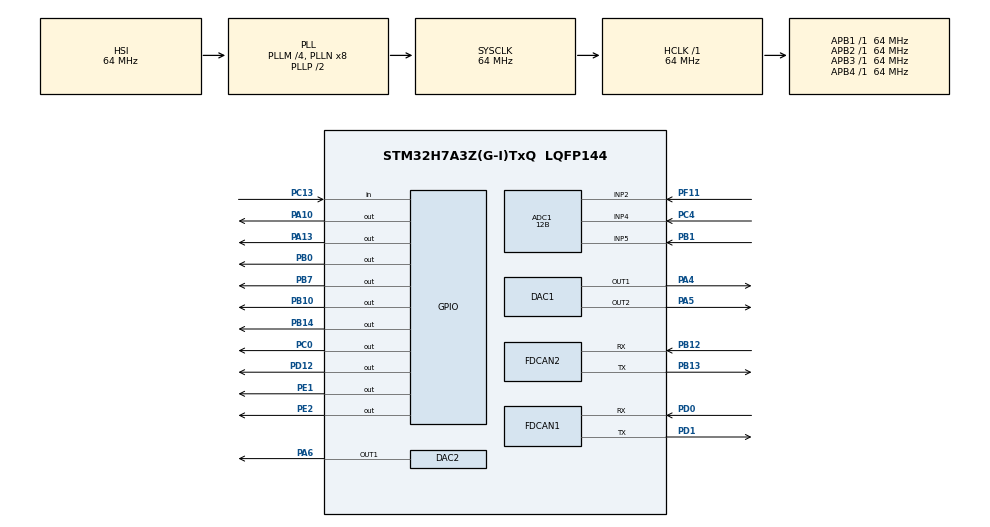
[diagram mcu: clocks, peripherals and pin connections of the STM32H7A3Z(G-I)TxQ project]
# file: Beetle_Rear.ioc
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ADC1.Channel-0\#ChannelRegularConversion=ADC_CHANNEL_5
ADC1.Channel-3\#ChannelRegularConversion=ADC_CHANNEL_2
ADC1.Channel-4\#ChannelRegularConversion=ADC_CHANNEL_4
ADC1.ClockPrescaler=ADC_CLOCK_ASYNC_DIV64
ADC1.ContinuousConvMode=ENABLE
ADC1.ConversionDataManagement=ADC_CONVERSIONDATA_DMA_CIRCULAR
ADC1.DiscontinuousConvMode=DISABLE
ADC1.EOCSelection=ADC_EOC_SINGLE_CONV
ADC1.NbrOfConversion=3
ADC1.NbrOfConversionFlag=1
ADC1.OffsetNumber-0\#ChannelRegularConversion=ADC_OFFSET_NONE
ADC1.OffsetNumber-3\#ChannelRegularConversion=ADC_OFFSET_NONE
ADC1.OffsetNumber-4\#ChannelRegularConversion=ADC_OFFSET_NONE
ADC1.OffsetSignedSaturation-0\#ChannelRegularConversion=DISABLE
ADC1.OversamplingMode=ENABLE
ADC1.Rank-0\#ChannelRegularConversion=1
ADC1.Rank-3\#ChannelRegularConversion=2
ADC1.Rank-4\#ChannelRegularConversion=3
ADC1.Ratio=64
ADC1.Resolution=ADC_RESOLUTION_12B
ADC1.RightBitShift=ADC_RIGHTBITSHIFT_6
ADC1.SamplingTime-0\#ChannelRegularConversion=ADC_SAMPLETIME_32CYCLES_5
ADC1.SamplingTime-3\#ChannelRegularConversion=ADC_SAMPLETIME_32CYCLES_5
ADC1.SamplingTime-4\#ChannelRegularConversion=ADC_SAMPLETIME_32CYCLES_5
ADC1.master=1
CORTEX_M7.default_mode_Activation=1
DAC1.DAC_Channel-DAC_OUT1=DAC_CHANNEL_1
DAC1.DAC_Channel-DAC_OUT2=DAC_CHANNEL_2
DAC2.DAC_Channel-DAC_OUT1=DAC_CHANNEL_1
Dma.ADC1.0.Direction=DMA_PERIPH_TO_MEMORY
Dma.ADC1.0.EventEnable=DISABLE
Dma.ADC1.0.FIFOMode=DMA_FIFOMODE_DISABLE
Dma.ADC1.0.Instance=DMA1_Stream0
Dma.ADC1.0.MemDataAlignment=DMA_MDATAALIGN_HALFWORD
Dma.ADC1.0.MemInc=DMA_MINC_ENABLE
Dma.ADC1.0.Mode=DMA_CIRCULAR
Dma.ADC1.0.PeriphDataAlignment=DMA_PDATAALIGN_HALFWORD
Dma.ADC1.0.PeriphInc=DMA_PINC_DISABLE
Dma.ADC1.0.Polarity=HAL_DMAMUX_REQ_GEN_RISING
Dma.ADC1.0.Priority=DMA_PRIORITY_LOW
Dma.ADC1.0.RequestNumber=1
Dma.ADC1.0.SignalID=NONE
Dma.ADC1.0.SyncEnable=DISABLE
Dma.ADC1.0.SyncPolarity=HAL_DMAMUX_SYNC_NO_EVENT
Dma.ADC1.0.SyncRequestNumber=1
Dma.ADC1.0.SyncSignalID=NONE
Dma.Request0=ADC1
FDCAN1.CalculateBaudRateNominal=500000
FDCAN1.CalculateTimeBitNominal=2000
FDCAN1.CalculateTimeQuantumNominal=62.5
FDCAN1.DataSyncJumpWidth=14
FDCAN1.DataTimeSeg1=17
FDCAN1.DataTimeSeg2=14
FDCAN1.NominalPrescaler=1
FDCAN1.NominalSyncJumpWidth=4
FDCAN1.NominalTimeSeg1=27
FDCAN1.NominalTimeSeg2=4
FDCAN1.RxFifo0ElmtsNbr=1
FDCAN1.StdFiltersNbr=1
FDCAN1.TxFifoQueueElmtsNbr=1
FDCAN2.CalculateBaudRateNominal=500000
FDCAN2.CalculateTimeBitNominal=2000
FDCAN2.CalculateTimeQuantumNominal=62.5
FDCAN2.DataSyncJumpWidth=14
FDCAN2.DataTimeSeg1=17
FDCAN2.DataTimeSeg2=14
FDCAN2.NominalPrescaler=1
FDCAN2.NominalSyncJumpWidth=4
FDCAN2.NominalTimeSeg1=27
FDCAN2.NominalTimeSeg2=4
FDCAN2.RxFifo0ElmtsNbr=1
FDCAN2.StdFiltersNbr=1
FDCAN2.TxFifoQueueElmtsNbr=1
Mcu.Family=STM32H7
Mcu.Name=STM32H7A3Z(G-I)TxQ
Mcu.Package=LQFP144
NUCLEO-H7A3ZI-Q.BUTTON=1
NUCLEO-H7A3ZI-Q.Bsp_Common_DEMO=true
NUCLEO-H7A3ZI-Q.LD1=true
NUCLEO-H7A3ZI-Q.LD2=true
NUCLEO-H7A3ZI-Q.LD3=true
NUCLEO-H7A3ZI-Q.VCP=true
NVIC.DMA1_Stream0_IRQn=true\:0\:0\:false\:false\:true\:false\:true\:true
NVIC.EXTI15_10_IRQn=true\:0\:0\:false\:false\:true\:false\:true\:true
NVIC.FDCAN1_IT0_IRQn=true\:0\:0\:false\:false\:true\:true\:true\:true
NVIC.FDCAN2_IT0_IRQn=true\:1\:0\:true\:false\:true\:true\:true\:true
NVIC.PriorityGroup=NVIC_PRIORITYGROUP_4
PA10.Signal=GPIO_Output
PA13.Signal=GPIO_Output
PA4.Signal=COMP_DAC11_group
PA5.Signal=COMP_DAC12_group
PA6.Signal=COMP_DAC21_group
PB0.Signal=GPIO_Output
PB1.Signal=ADCx_INP5
PB10.Signal=GPIO_Output
PB12.GPIO_PuPd=GPIO_PULLUP
PB12.GPIO_Speed=GPIO_SPEED_FREQ_VERY_HIGH
PB12.Mode=FDCAN_Activate
PB12.Signal=FDCAN2_RX
PB13.GPIO_Speed=GPIO_SPEED_FREQ_VERY_HIGH
PB13.Mode=FDCAN_Activate
PB13.Signal=FDCAN2_TX
PB14.Signal=GPIO_Output
PB7.Signal=GPIO_Output
PC0.Signal=GPIO_Output
PC13.Signal=GPIO_Input
PC14-OSC32_IN.GPIO_Label=OSC32_IN
PC14-OSC32_IN.Signal=RCC_OSC32_IN
PC15-OSC32_OUT.GPIO_Label=OSC32_OUT
PC15-OSC32_OUT.Signal=RCC_OSC32_OUT
PC4.Signal=ADCx_INP4
PD0.GPIO_PuPd=GPIO_PULLUP
PD0.GPIO_Speed=GPIO_SPEED_FREQ_VERY_HIGH
PD0.Mode=FDCAN_Activate
PD0.Signal=FDCAN1_RX
PD1.GPIO_Speed=GPIO_SPEED_FREQ_VERY_HIGH
PD1.Mode=FDCAN_Activate
PD1.Signal=FDCAN1_TX
PD12.Signal=GPIO_Output
PD8.Signal=USART3_TX
PD9.Signal=USART3_RX
PE1.Signal=GPIO_Output
PE2.Signal=GPIO_Output
PF11.Mode=IN2-Single-Ended
PF11.Signal=ADC1_INP2
PH0-OSC_IN.GPIO_Label=PH0-MCU
PH0-OSC_IN.Signal=RCC_OSC_IN
PH1-OSC_OUT.GPIO_Label=PH1-MCU
PH1-OSC_OUT.Signal=RCC_OSC_OUT
ProjectManager.HeapSize=0x200
ProjectManager.StackSize=0x400
ProjectManager.TargetToolchain=STM32CubeIDE
RCC.ADCFreq_Value=42666666.666666664
RCC.APB1Freq_Value=64000000
RCC.APB2Freq_Value=64000000
RCC.APB3Freq_Value=64000000
RCC.APB4Freq_Value=64000000
RCC.CortexFreq_Value=64000000
RCC.DIVM1=4
RCC.DIVM2=4
RCC.DIVM3=1
RCC.DIVN1=8
RCC.DIVN2=8
RCC.DIVN3=24
RCC.DIVP2=3
RCC.DIVQ1=8
RCC.HCLKFreq_Value=64000000
RCC.HSE_VALUE=8000000
RCC.PLL2FRACN=0
RCC.PLLFRACN=0
RCC.PWR_Regulator_Voltage_Scale=PWR_REGULATOR_VOLTAGE_SCALE0
RCC.SYSCLKFreq_VALUE=64000000
RCC.SYSCLKSource=RCC_SYSCLKSOURCE_PLLCLK
RCC.SupplySource=PWR_DIRECT_SMPS_SUPPLY
RCC.USBCLockSelection=RCC_USBCLKSOURCE_HSI48
RCC.USBFreq_Value=48000000
SH.ADCx_INP4.0=ADC1_INP4,IN4-Single-Ended
SH.ADCx_INP5.0=ADC1_INP5,IN5-Single-Ended
SH.COMP_DAC11_group.0=DAC1_OUT1,DAC_OUT1
SH.COMP_DAC12_group.0=DAC1_OUT2,DAC_OUT2
SH.COMP_DAC21_group.0=DAC2_OUT1,DAC_OUT1
VP_IWDG1_VS_IWDG.Mode=IWDG_Activate
VP_MEMORYMAP_VS_MEMORYMAP.Mode=CurAppReg
VP_NUCLEO-H7A3ZI-Q_VS_BSP_COMMON.Mode=COMMON
board=NUCLEO-H7A3ZI-Q

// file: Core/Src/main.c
/* USER CODE BEGIN Header */
/**
 ******************************************************************************
 * @file           : main.c
 * @brief          : Main program body
 ******************************************************************************
 * @attention
 *
 * Copyright (c) 2025 STMicroelectronics.
 * All rights reserved.
 *
 * This software is licensed under terms that can be found in the LICENSE file
 * in the root directory of this software component.
 * If no LICENSE file comes with this software, it is provided AS-IS.
 *
 ******************************************************************************
 */
/* USER CODE END Header */
#include "main.h"

/* USER CODE BEGIN Includes */
#include <stdbool.h>
#include <math.h>
/* USER CODE END Includes */

COM_InitTypeDef BspCOMInit;
__IO uint32_t BspButtonState = BUTTON_RELEASED;
ADC_HandleTypeDef hadc1;
DMA_HandleTypeDef hdma_adc1;

DAC_HandleTypeDef hdac1;
DAC_HandleTypeDef hdac2;

FDCAN_HandleTypeDef hfdcan1;
FDCAN_HandleTypeDef hfdcan2;

IWDG_HandleTypeDef hiwdg1;

/* USER CODE BEGIN PV */
volatile uint16_t adc1_values[3] = { 0 };
/* USER CODE BEGIN PV */
FDCAN_TxHeaderTypeDef TxHeader;
FDCAN_RxHeaderTypeDef RxHeader;
uint8_t TxData[8];
uint8_t RxData[8];
uint32_t TxMailbox;

bool malfunction = false;

volatile uint32_t last0x166MsgTime = 0;
volatile uint8_t control_byte_last = 0;

volatile bool sendFastMsg = false;
volatile bool sendSlowMsg = false;
volatile uint8_t fastMsgData[8];
volatile uint8_t slowMsgData[8];
/* USER CODE END PV */

void SystemClock_Config(void);
static void MPU_Config(void);
static void MX_GPIO_Init(void);
static void MX_DMA_Init(void);
static void MX_ADC1_Init(void);
static void MX_DAC1_Init(void);
static void MX_DAC2_Init(void);
static void MX_IWDG1_Init(void);
static void MX_FDCAN2_Init(void);
static void MX_FDCAN1_Init(void);

int main(void) {

	/* MPU Configuration--------------------------------------------------------*/
	MPU_Config();

	/* MCU Configuration--------------------------------------------------------*/

	/* Reset of all peripherals, Initializes the Flash interface and the Systick. */
	HAL_Init();

	/* Configure the system clock */
	SystemClock_Config();

	/* Initialize all configured peripherals */
	MX_GPIO_Init();
	MX_DMA_Init();
	MX_ADC1_Init();
	MX_DAC1_Init();
	MX_DAC2_Init();
	MX_IWDG1_Init();
	MX_FDCAN2_Init();
	MX_FDCAN1_Init();
	/* USER CODE BEGIN 2 */
	HAL_DAC_Start(&hdac1, DAC_CHANNEL_1);
	HAL_DAC_Start(&hdac1, DAC_CHANNEL_2);
	HAL_DAC_Start(&hdac2, DAC_CHANNEL_1);

	HAL_DAC_SetValue(&hdac1, DAC_CHANNEL_1, DAC_ALIGN_12B_R, 0);
	HAL_DAC_SetValue(&hdac1, DAC_CHANNEL_2, DAC_ALIGN_12B_R, 0);
	HAL_DAC_SetValue(&hdac2, DAC_CHANNEL_1, DAC_ALIGN_12B_R, 0);

	HAL_ADC_Start_DMA(&hadc1, (uint32_t*) adc1_values, 3); // Start ADC in DMA mode

	// Configure global filter to accept all frames in FIFO0
	HAL_FDCAN_ConfigGlobalFilter(&hfdcan2,
	FDCAN_ACCEPT_IN_RX_FIFO0,  // Non-matching standard frames
			FDCAN_ACCEPT_IN_RX_FIFO0,  // Non-matching extended frames
			FDCAN_FILTER_REMOTE,       // Remote standard frames
			FDCAN_FILTER_REMOTE);      // Remote extended frames

	// Start FDCAN controller
	if (HAL_FDCAN_Start(&hfdcan2) != HAL_OK) {
		Error_Handler();
	}

	// Enable interrupt-based reception
	if (HAL_FDCAN_ActivateNotification(&hfdcan2, FDCAN_IT_RX_FIFO0_NEW_MESSAGE,
			0) != HAL_OK) {
		Error_Handler();
	}

	// Configure global filter for FDCAN1
	HAL_FDCAN_ConfigGlobalFilter(&hfdcan1,
	FDCAN_ACCEPT_IN_RX_FIFO0,  // Non-matching standard frames
			FDCAN_ACCEPT_IN_RX_FIFO0,  // Non-matching extended frames
			FDCAN_FILTER_REMOTE,       // Remote standard frames
			FDCAN_FILTER_REMOTE);      // Remote extended frames

	// Start FDCAN1 controller
	if (HAL_FDCAN_Start(&hfdcan1) != HAL_OK) {
		Error_Handler();
	}

	// Enable interrupt-based reception for FDCAN1
	if (HAL_FDCAN_ActivateNotification(&hfdcan1, FDCAN_IT_RX_FIFO0_NEW_MESSAGE,
			0) != HAL_OK) {
		Error_Handler();
	}

	// Prepare Tx Header (customize as needed)
	TxHeader.Identifier = 0x123;
	TxHeader.IdType = FDCAN_STANDARD_ID;
	TxHeader.TxFrameType = FDCAN_DATA_FRAME;
	TxHeader.DataLength = FDCAN_DLC_BYTES_8;
	TxHeader.ErrorStateIndicator = FDCAN_ESI_ACTIVE;
	TxHeader.BitRateSwitch = FDCAN_BRS_OFF;
	TxHeader.FDFormat = FDCAN_CLASSIC_CAN;
	TxHeader.TxEventFifoControl = FDCAN_NO_TX_EVENTS;
	TxHeader.MessageMarker = 0;

	HAL_GPIO_WritePin(GPIOD, GPIO_PIN_12, GPIO_PIN_RESET); // k1-4 traction enable
	HAL_GPIO_WritePin(GPIOB, GPIO_PIN_10, GPIO_PIN_RESET); // k1-5 forward
	HAL_GPIO_WritePin(GPIOB, GPIO_PIN_7, GPIO_PIN_RESET); // k1-6 reverse
	HAL_GPIO_WritePin(GPIOA, GPIO_PIN_13, GPIO_PIN_RESET); // k1-7 torque limit
	HAL_GPIO_WritePin(GPIOC, GPIO_PIN_0, GPIO_PIN_RESET); // k1-18 profile 2
	HAL_GPIO_WritePin(GPIOE, GPIO_PIN_2, GPIO_PIN_RESET); // k1-19 profile 3
	/* USER CODE END 2 */

	/* Initialize leds */
	BSP_LED_Init(LED_GREEN);
	BSP_LED_Init(LED_YELLOW);
	BSP_LED_Init(LED_RED);

	/* Initialize USER push-button, will be used to trigger an interrupt each time it's pressed.*/
	BSP_PB_Init(BUTTON_USER, BUTTON_MODE_EXTI);

	/* Initialize COM1 port (115200, 8 bits (7-bit data + 1 stop bit), no parity */
	BspCOMInit.BaudRate = 115200;
	BspCOMInit.WordLength = COM_WORDLENGTH_8B;
	BspCOMInit.StopBits = COM_STOPBITS_1;
	BspCOMInit.Parity = COM_PARITY_NONE;
	BspCOMInit.HwFlowCtl = COM_HWCONTROL_NONE;
	if (BSP_COM_Init(COM1, &BspCOMInit) != BSP_ERROR_NONE) {
		Error_Handler();
	}

	/* Infinite loop */
	/* USER CODE BEGIN WHILE */
	while (1) {
		HAL_IWDG_Refresh(&hiwdg1);

		// throttle 1
		int expected_adc2 = (int)(-0.83803 * adc1_values[0] + 3337.7 + 0.5);

		uint32_t currentTime = HAL_GetTick();
		if (currentTime > 1000 && (adc1_values[1] < 400 || adc1_values[2] < 1200 || adc1_values[2] > 2600 || adc1_values[0] < 1200 || adc1_values[0] > 2600 || abs(expected_adc2-adc1_values[2]) > 600)) {
			malfunction = true;
		}

		uint16_t throttle1 = (adc1_values[2] - 1350) * 4095 / (2400 - 1350);
		HAL_DAC_SetValue(&hdac2, DAC_CHANNEL_1, DAC_ALIGN_12B_R, throttle1);
		// throttle 2
		uint16_t throttle2 = (adc1_values[0] - 1350) * 4095 / (2400 - 1350);
		HAL_DAC_SetValue(&hdac1, DAC_CHANNEL_1, DAC_ALIGN_12B_R, throttle2);
		// brake
		HAL_DAC_SetValue(&hdac1, DAC_CHANNEL_2, DAC_ALIGN_12B_R,
				adc1_values[1]);

		//printf("ADC Values: %05u %05u %05u %05u\r\n", adc1_values[0], adc1_values[1], adc1_values[2], expected_adc2);

		// If no control message received in last 0.5 seconds, reset all outputs so that traction is disabled.
		if ((currentTime + 50 - last0x166MsgTime > 550
				&& control_byte_last != 0x00) || malfunction) { // sometimes last0x166MsgTime gets updated through an interrupt after currentTime has been set. So then you don't want to subtract them and find them and get a negative number as it will be seen as higher than 500.
			HAL_GPIO_WritePin(GPIOD, GPIO_PIN_12, GPIO_PIN_RESET); // k1-4 traction enable
			HAL_GPIO_WritePin(GPIOB, GPIO_PIN_10, GPIO_PIN_RESET); // k1-5 forward
			HAL_GPIO_WritePin(GPIOB, GPIO_PIN_7, GPIO_PIN_RESET); // k1-6 reverse
			HAL_GPIO_WritePin(GPIOA, GPIO_PIN_13, GPIO_PIN_RESET); // k1-7 torque limit
			HAL_GPIO_WritePin(GPIOC, GPIO_PIN_0, GPIO_PIN_RESET); // k1-18 profile 2
			HAL_GPIO_WritePin(GPIOE, GPIO_PIN_2, GPIO_PIN_RESET); // k1-19 profile 3
			control_byte_last = 0x00;
			last0x166MsgTime = currentTime;
		}

		if (sendFastMsg) {
		    // Prepare data buffer for CAN message - DON'T initialize to zero!
		    uint8_t data[8];

		    // Copy all bytes from the received message
		    for (int i = 0; i < 8; i++) {
		        data[i] = fastMsgData[i];
		    }

		    // Check brake pedal status (NOT depressed if between 450-490)
		    bool brake_depressed = (adc1_values[1] < 450 || adc1_values[1] > 510);

		    // Check throttle pedal status (NO pressure if both ADCs in specific ranges)
		    bool throttle_pressure = !(adc1_values[2] >= 1500 && adc1_values[2] <= 1550 &&
		                             adc1_values[0] >= 2160 && adc1_values[0] <= 2210);

		    // Get the original value and mask it to 0-7
		    uint8_t original_value = data[7] & 0x07; // Use 3 bits for 0-7

		    // Construct the new byte: brake in bit 6, throttle in bit 7, original value in bits 0-2
		    data[7] = (brake_depressed ? 0x80 : 0) | (throttle_pressure ? 0x40 : 0) | original_value;

			// Set up transmission header
			TxHeader.Identifier = 0x154;
			TxHeader.IdType = FDCAN_STANDARD_ID;
			TxHeader.TxFrameType = FDCAN_DATA_FRAME;
			TxHeader.DataLength = FDCAN_DLC_BYTES_8;  // Using all 8 bytes
			TxHeader.ErrorStateIndicator = FDCAN_ESI_ACTIVE;
			TxHeader.BitRateSwitch = FDCAN_BRS_OFF;
			TxHeader.FDFormat = FDCAN_CLASSIC_CAN;
			TxHeader.TxEventFifoControl = FDCAN_NO_TX_EVENTS;
			TxHeader.MessageMarker = 0;

			// Send the message
			HAL_StatusTypeDef status = HAL_FDCAN_AddMessageToTxFifoQ(&hfdcan2,
					&TxHeader, data);
			if (status != HAL_OK) {
				printf("CAN TX Error: %d\r\n", status);
			}

			// Reset flag
			sendFastMsg = false;
		}

		if (sendSlowMsg) {
			// Prepare data buffer for CAN message
			uint8_t data[8] = { 0 }; // Initialize all bytes to zero

		    // Copy data from the received message - forward exactly as received
		    for (int i = 0; i < 4; i++) {
		        data[i] = slowMsgData[i];
		    }

			// Set up transmission header
			TxHeader.Identifier = 0x155;
			TxHeader.IdType = FDCAN_STANDARD_ID;
			TxHeader.TxFrameType = FDCAN_DATA_FRAME;
			TxHeader.DataLength = FDCAN_DLC_BYTES_8;  // Using all 8 bytes
			TxHeader.ErrorStateIndicator = FDCAN_ESI_ACTIVE;
			TxHeader.BitRateSwitch = FDCAN_BRS_OFF;
			TxHeader.FDFormat = FDCAN_CLASSIC_CAN;
			TxHeader.TxEventFifoControl = FDCAN_NO_TX_EVENTS;
			TxHeader.MessageMarker = 0;

			// Send the message
			HAL_StatusTypeDef status = HAL_FDCAN_AddMessageToTxFifoQ(&hfdcan2,
					&TxHeader, data);
			if (status != HAL_OK) {
				printf("CAN TX Error: %d\r\n", status);
			}

			// Reset flag
			sendSlowMsg = false;
		}
		/* USER CODE END WHILE */

	}
}

void SystemClock_Config(void) {
	RCC_OscInitTypeDef RCC_OscInitStruct = { 0 };
	RCC_ClkInitTypeDef RCC_ClkInitStruct = { 0 };

	/*AXI clock gating */
	RCC->CKGAENR = 0xFFFFFFFF;

	/** Supply configuration update enable
	 */
	HAL_PWREx_ConfigSupply(PWR_DIRECT_SMPS_SUPPLY);

	/** Configure the main internal regulator output voltage
	 */
	__HAL_PWR_VOLTAGESCALING_CONFIG(PWR_REGULATOR_VOLTAGE_SCALE0);

	while (!__HAL_PWR_GET_FLAG(PWR_FLAG_VOSRDY)) {
	}

	/** Initializes the RCC Oscillators according to the specified parameters
	 * in the RCC_OscInitTypeDef structure.
	 */
	RCC_OscInitStruct.OscillatorType = RCC_OSCILLATORTYPE_HSI
			| RCC_OSCILLATORTYPE_LSI;
	RCC_OscInitStruct.HSIState = RCC_HSI_DIV1;
	RCC_OscInitStruct.HSICalibrationValue = 64;
	RCC_OscInitStruct.LSIState = RCC_LSI_ON;
	RCC_OscInitStruct.PLL.PLLState = RCC_PLL_ON;
	RCC_OscInitStruct.PLL.PLLSource = RCC_PLLSOURCE_HSI;
	RCC_OscInitStruct.PLL.PLLM = 4;
	RCC_OscInitStruct.PLL.PLLN = 8;
	RCC_OscInitStruct.PLL.PLLP = 2;
	RCC_OscInitStruct.PLL.PLLQ = 8;
	RCC_OscInitStruct.PLL.PLLR = 2;
	RCC_OscInitStruct.PLL.PLLRGE = RCC_PLL1VCIRANGE_3;
	RCC_OscInitStruct.PLL.PLLVCOSEL = RCC_PLL1VCOWIDE;
	RCC_OscInitStruct.PLL.PLLFRACN = 0;
	if (HAL_RCC_OscConfig(&RCC_OscInitStruct) != HAL_OK) {
		Error_Handler();
	}

	/** Initializes the CPU, AHB and APB buses clocks
	 */
	RCC_ClkInitStruct.ClockType = RCC_CLOCKTYPE_HCLK | RCC_CLOCKTYPE_SYSCLK
			| RCC_CLOCKTYPE_PCLK1 | RCC_CLOCKTYPE_PCLK2 | RCC_CLOCKTYPE_D3PCLK1
			| RCC_CLOCKTYPE_D1PCLK1;
	RCC_ClkInitStruct.SYSCLKSource = RCC_SYSCLKSOURCE_PLLCLK;
	RCC_ClkInitStruct.SYSCLKDivider = RCC_SYSCLK_DIV1;
	RCC_ClkInitStruct.AHBCLKDivider = RCC_HCLK_DIV1;
	RCC_ClkInitStruct.APB3CLKDivider = RCC_APB3_DIV1;
	RCC_ClkInitStruct.APB1CLKDivider = RCC_APB1_DIV1;
	RCC_ClkInitStruct.APB2CLKDivider = RCC_APB2_DIV1;
	RCC_ClkInitStruct.APB4CLKDivider = RCC_APB4_DIV1;

	if (HAL_RCC_ClockConfig(&RCC_ClkInitStruct, FLASH_LATENCY_1) != HAL_OK) {
		Error_Handler();
	}
}

static void MX_ADC1_Init(void) {

	ADC_MultiModeTypeDef multimode = { 0 };
	ADC_ChannelConfTypeDef sConfig = { 0 };

	/** Common config
	 */
	hadc1.Instance = ADC1;
	hadc1.Init.ClockPrescaler = ADC_CLOCK_ASYNC_DIV64;
	hadc1.Init.Resolution = ADC_RESOLUTION_12B;
	hadc1.Init.ScanConvMode = ADC_SCAN_ENABLE;
	hadc1.Init.EOCSelection = ADC_EOC_SINGLE_CONV;
	hadc1.Init.LowPowerAutoWait = DISABLE;
	hadc1.Init.ContinuousConvMode = ENABLE;
	hadc1.Init.NbrOfConversion = 3;
	hadc1.Init.DiscontinuousConvMode = DISABLE;
	hadc1.Init.ExternalTrigConv = ADC_SOFTWARE_START;
	hadc1.Init.ExternalTrigConvEdge = ADC_EXTERNALTRIGCONVEDGE_NONE;
	hadc1.Init.ConversionDataManagement = ADC_CONVERSIONDATA_DMA_CIRCULAR;
	hadc1.Init.Overrun = ADC_OVR_DATA_PRESERVED;
	hadc1.Init.LeftBitShift = ADC_LEFTBITSHIFT_NONE;
	hadc1.Init.OversamplingMode = ENABLE;
	hadc1.Init.Oversampling.Ratio = 64;
	hadc1.Init.Oversampling.RightBitShift = ADC_RIGHTBITSHIFT_6;
	hadc1.Init.Oversampling.TriggeredMode = ADC_TRIGGEREDMODE_SINGLE_TRIGGER;
	hadc1.Init.Oversampling.OversamplingStopReset =
	ADC_REGOVERSAMPLING_CONTINUED_MODE;
	if (HAL_ADC_Init(&hadc1) != HAL_OK) {
		Error_Handler();
	}

	/** Configure the ADC multi-mode
	 */
	multimode.Mode = ADC_MODE_INDEPENDENT;
	if (HAL_ADCEx_MultiModeConfigChannel(&hadc1, &multimode) != HAL_OK) {
		Error_Handler();
	}

	/** Configure Regular Channel
	 */
	sConfig.Channel = ADC_CHANNEL_5;
	sConfig.Rank = ADC_REGULAR_RANK_1;
	sConfig.SamplingTime = ADC_SAMPLETIME_32CYCLES_5;
	sConfig.SingleDiff = ADC_SINGLE_ENDED;
	sConfig.OffsetNumber = ADC_OFFSET_NONE;
	sConfig.Offset = 0;
	sConfig.OffsetSignedSaturation = DISABLE;
	if (HAL_ADC_ConfigChannel(&hadc1, &sConfig) != HAL_OK) {
		Error_Handler();
	}

	/** Configure Regular Channel
	 */
	sConfig.Channel = ADC_CHANNEL_2;
	sConfig.Rank = ADC_REGULAR_RANK_2;
	if (HAL_ADC_ConfigChannel(&hadc1, &sConfig) != HAL_OK) {
		Error_Handler();
	}

	/** Configure Regular Channel
	 */
	sConfig.Channel = ADC_CHANNEL_4;
	sConfig.Rank = ADC_REGULAR_RANK_3;
	if (HAL_ADC_ConfigChannel(&hadc1, &sConfig) != HAL_OK) {
		Error_Handler();
	}

}

static void MX_DAC1_Init(void) {

	DAC_ChannelConfTypeDef sConfig = { 0 };

	/** DAC Initialization
	 */
	hdac1.Instance = DAC1;
	if (HAL_DAC_Init(&hdac1) != HAL_OK) {
		Error_Handler();
	}

	/** DAC channel OUT1 config
	 */
	sConfig.DAC_SampleAndHold = DAC_SAMPLEANDHOLD_DISABLE;
	sConfig.DAC_Trigger = DAC_TRIGGER_NONE;
	sConfig.DAC_OutputBuffer = DAC_OUTPUTBUFFER_ENABLE;
	sConfig.DAC_ConnectOnChipPeripheral = DAC_CHIPCONNECT_DISABLE;
	sConfig.DAC_UserTrimming = DAC_TRIMMING_FACTORY;
	if (HAL_DAC_ConfigChannel(&hdac1, &sConfig, DAC_CHANNEL_1) != HAL_OK) {
		Error_Handler();
	}

	/** DAC channel OUT2 config
	 */
	if (HAL_DAC_ConfigChannel(&hdac1, &sConfig, DAC_CHANNEL_2) != HAL_OK) {
		Error_Handler();
	}

}

static void MX_DAC2_Init(void) {

	DAC_ChannelConfTypeDef sConfig = { 0 };

	/** DAC Initialization
	 */
	hdac2.Instance = DAC2;
	if (HAL_DAC_Init(&hdac2) != HAL_OK) {
		Error_Handler();
	}

	/** DAC channel OUT1 config
	 */
	sConfig.DAC_SampleAndHold = DAC_SAMPLEANDHOLD_DISABLE;
	sConfig.DAC_Trigger = DAC_TRIGGER_NONE;
	sConfig.DAC_OutputBuffer = DAC_OUTPUTBUFFER_ENABLE;
	sConfig.DAC_ConnectOnChipPeripheral = DAC_CHIPCONNECT_DISABLE;
	sConfig.DAC_UserTrimming = DAC_TRIMMING_FACTORY;
	if (HAL_DAC_ConfigChannel(&hdac2, &sConfig, DAC_CHANNEL_1) != HAL_OK) {
		Error_Handler();
	}

}

static void MX_FDCAN1_Init(void) {

	hfdcan1.Instance = FDCAN1;
	hfdcan1.Init.FrameFormat = FDCAN_FRAME_CLASSIC;
	hfdcan1.Init.Mode = FDCAN_MODE_NORMAL;
	hfdcan1.Init.AutoRetransmission = DISABLE;
	hfdcan1.Init.TransmitPause = DISABLE;
	hfdcan1.Init.ProtocolException = DISABLE;
	hfdcan1.Init.NominalPrescaler = 1;
	hfdcan1.Init.NominalSyncJumpWidth = 4;
	hfdcan1.Init.NominalTimeSeg1 = 27;
	hfdcan1.Init.NominalTimeSeg2 = 4;
	hfdcan1.Init.DataPrescaler = 1;
	hfdcan1.Init.DataSyncJumpWidth = 14;
	hfdcan1.Init.DataTimeSeg1 = 17;
	hfdcan1.Init.DataTimeSeg2 = 14;
	hfdcan1.Init.MessageRAMOffset = 0;
	hfdcan1.Init.StdFiltersNbr = 1;
	hfdcan1.Init.ExtFiltersNbr = 0;
	hfdcan1.Init.RxFifo0ElmtsNbr = 1;
	hfdcan1.Init.RxFifo0ElmtSize = FDCAN_DATA_BYTES_8;
	hfdcan1.Init.RxFifo1ElmtsNbr = 0;
	hfdcan1.Init.RxFifo1ElmtSize = FDCAN_DATA_BYTES_8;
	hfdcan1.Init.RxBuffersNbr = 0;
	hfdcan1.Init.RxBufferSize = FDCAN_DATA_BYTES_8;
	hfdcan1.Init.TxEventsNbr = 0;
	hfdcan1.Init.TxBuffersNbr = 0;
	hfdcan1.Init.TxFifoQueueElmtsNbr = 1;
	hfdcan1.Init.TxFifoQueueMode = FDCAN_TX_FIFO_OPERATION;
	hfdcan1.Init.TxElmtSize = FDCAN_DATA_BYTES_8;
	if (HAL_FDCAN_Init(&hfdcan1) != HAL_OK) {
		Error_Handler();
	}

}

static void MX_FDCAN2_Init(void) {

	hfdcan2.Instance = FDCAN2;
	hfdcan2.Init.FrameFormat = FDCAN_FRAME_CLASSIC;
	hfdcan2.Init.Mode = FDCAN_MODE_NORMAL;
	hfdcan2.Init.AutoRetransmission = DISABLE;
	hfdcan2.Init.TransmitPause = DISABLE;
	hfdcan2.Init.ProtocolException = DISABLE;
	hfdcan2.Init.NominalPrescaler = 1;
	hfdcan2.Init.NominalSyncJumpWidth = 4;
	hfdcan2.Init.NominalTimeSeg1 = 27;
	hfdcan2.Init.NominalTimeSeg2 = 4;
	hfdcan2.Init.DataPrescaler = 1;
	hfdcan2.Init.DataSyncJumpWidth = 14;
	hfdcan2.Init.DataTimeSeg1 = 17;
	hfdcan2.Init.DataTimeSeg2 = 14;
	hfdcan2.Init.MessageRAMOffset = 0;
	hfdcan2.Init.StdFiltersNbr = 1;
	hfdcan2.Init.ExtFiltersNbr = 0;
	hfdcan2.Init.RxFifo0ElmtsNbr = 1;
	hfdcan2.Init.RxFifo0ElmtSize = FDCAN_DATA_BYTES_8;
	hfdcan2.Init.RxFifo1ElmtsNbr = 0;
	hfdcan2.Init.RxFifo1ElmtSize = FDCAN_DATA_BYTES_8;
	hfdcan2.Init.RxBuffersNbr = 0;
	hfdcan2.Init.RxBufferSize = FDCAN_DATA_BYTES_8;
	hfdcan2.Init.TxEventsNbr = 0;
	hfdcan2.Init.TxBuffersNbr = 0;
	hfdcan2.Init.TxFifoQueueElmtsNbr = 1;
	hfdcan2.Init.TxFifoQueueMode = FDCAN_TX_FIFO_OPERATION;
	hfdcan2.Init.TxElmtSize = FDCAN_DATA_BYTES_8;
	if (HAL_FDCAN_Init(&hfdcan2) != HAL_OK) {
		Error_Handler();
	}

}

static void MX_IWDG1_Init(void) {

	hiwdg1.Instance = IWDG1;
	hiwdg1.Init.Prescaler = IWDG_PRESCALER_4;
	hiwdg1.Init.Window = 4095;
	hiwdg1.Init.Reload = 4095;
	if (HAL_IWDG_Init(&hiwdg1) != HAL_OK) {
		Error_Handler();
	}

}

static void MX_DMA_Init(void) {

	/* DMA controller clock enable */
	__HAL_RCC_DMA1_CLK_ENABLE();

	/* DMA interrupt init */
	/* DMA1_Stream0_IRQn interrupt configuration */
	HAL_NVIC_SetPriority(DMA1_Stream0_IRQn, 0, 0);
	HAL_NVIC_EnableIRQ(DMA1_Stream0_IRQn);

}

static void MX_GPIO_Init(void) {
	GPIO_InitTypeDef GPIO_InitStruct = { 0 };

	/* GPIO Ports Clock Enable */
	__HAL_RCC_GPIOE_CLK_ENABLE();
	__HAL_RCC_GPIOC_CLK_ENABLE();
	__HAL_RCC_GPIOH_CLK_ENABLE();
	__HAL_RCC_GPIOA_CLK_ENABLE();
	__HAL_RCC_GPIOB_CLK_ENABLE();
	__HAL_RCC_GPIOF_CLK_ENABLE();
	__HAL_RCC_GPIOD_CLK_ENABLE();

	/*Configure GPIO pin Output Level */
	HAL_GPIO_WritePin(GPIOE, GPIO_PIN_2, GPIO_PIN_RESET);

	/*Configure GPIO pin Output Level */
	HAL_GPIO_WritePin(GPIOC, GPIO_PIN_0, GPIO_PIN_RESET);

	/*Configure GPIO pin Output Level */
	HAL_GPIO_WritePin(GPIOB, GPIO_PIN_10 | GPIO_PIN_7, GPIO_PIN_RESET);

	/*Configure GPIO pin Output Level */
	HAL_GPIO_WritePin(GPIOD, GPIO_PIN_12, GPIO_PIN_RESET);

	/*Configure GPIO pin Output Level */
	HAL_GPIO_WritePin(GPIOA, GPIO_PIN_10 | GPIO_PIN_13, GPIO_PIN_RESET);

	/*Configure GPIO pin : PE2 */
	GPIO_InitStruct.Pin = GPIO_PIN_2;
	GPIO_InitStruct.Mode = GPIO_MODE_OUTPUT_PP;
	GPIO_InitStruct.Pull = GPIO_NOPULL;
	GPIO_InitStruct.Speed = GPIO_SPEED_FREQ_LOW;
	HAL_GPIO_Init(GPIOE, &GPIO_InitStruct);

	/*Configure GPIO pin : PC0 */
	GPIO_InitStruct.Pin = GPIO_PIN_0;
	GPIO_InitStruct.Mode = GPIO_MODE_OUTPUT_PP;
	GPIO_InitStruct.Pull = GPIO_NOPULL;
	GPIO_InitStruct.Speed = GPIO_SPEED_FREQ_LOW;
	HAL_GPIO_Init(GPIOC, &GPIO_InitStruct);

	/*Configure GPIO pins : PB10 PB7 */
	GPIO_InitStruct.Pin = GPIO_PIN_10 | GPIO_PIN_7;
	GPIO_InitStruct.Mode = GPIO_MODE_OUTPUT_PP;
	GPIO_InitStruct.Pull = GPIO_NOPULL;
	GPIO_InitStruct.Speed = GPIO_SPEED_FREQ_LOW;
	HAL_GPIO_Init(GPIOB, &GPIO_InitStruct);

	/*Configure GPIO pin : PD12 */
	GPIO_InitStruct.Pin = GPIO_PIN_12;
	GPIO_InitStruct.Mode = GPIO_MODE_OUTPUT_PP;
	GPIO_InitStruct.Pull = GPIO_NOPULL;
	GPIO_InitStruct.Speed = GPIO_SPEED_FREQ_LOW;
	HAL_GPIO_Init(GPIOD, &GPIO_InitStruct);

	/*Configure GPIO pins : PA10 PA13 */
	GPIO_InitStruct.Pin = GPIO_PIN_10 | GPIO_PIN_13;
	GPIO_InitStruct.Mode = GPIO_MODE_OUTPUT_PP;
	GPIO_InitStruct.Pull = GPIO_NOPULL;
	GPIO_InitStruct.Speed = GPIO_SPEED_FREQ_LOW;
	HAL_GPIO_Init(GPIOA, &GPIO_InitStruct);

}

/* USER CODE BEGIN 4 */
void HAL_FDCAN_RxFifo0Callback(FDCAN_HandleTypeDef *hfdcan, uint32_t RxFifo0ITs) {
	if ((RxFifo0ITs & FDCAN_IT_RX_FIFO0_NEW_MESSAGE) != RESET) {
		// Get message from FIFO 0
		if (HAL_FDCAN_GetRxMessage(hfdcan, FDCAN_RX_FIFO0, &RxHeader, RxData)
				== HAL_OK) {
			// Check message ID
			if (RxHeader.Identifier == 0x166 && hfdcan->Instance == FDCAN2) {
				// Message for GPIO control
				uint8_t control_byte = RxData[0];

				if (control_byte != control_byte_last && !malfunction) {
					// Update GPIO pins based on control byte (in k1-pin order)
					HAL_GPIO_WritePin(GPIOD, GPIO_PIN_12,
							(control_byte & 0x01) ?
									GPIO_PIN_SET : GPIO_PIN_RESET); // k1-4 traction enable
					HAL_GPIO_WritePin(GPIOB, GPIO_PIN_10,
							(control_byte & 0x02) ?
									GPIO_PIN_SET : GPIO_PIN_RESET); // k1-5 forward
					HAL_GPIO_WritePin(GPIOB, GPIO_PIN_7,
							(control_byte & 0x04) ?
									GPIO_PIN_SET : GPIO_PIN_RESET); // k1-6 reverse
					HAL_GPIO_WritePin(GPIOA, GPIO_PIN_13,
							(control_byte & 0x08) ?
									GPIO_PIN_SET : GPIO_PIN_RESET); // k1-7 torque limit
					HAL_GPIO_WritePin(GPIOC, GPIO_PIN_0,
							(control_byte & 0x10) ?
									GPIO_PIN_SET : GPIO_PIN_RESET); // k1-18 profile 2
					HAL_GPIO_WritePin(GPIOE, GPIO_PIN_2,
							(control_byte & 0x20) ?
									GPIO_PIN_SET : GPIO_PIN_RESET); // k1-19 profile 3
					control_byte_last = control_byte;
				}

				last0x166MsgTime = HAL_GetTick();

//				printf("Received GPIO control: 0x%02X\r\n", control_byte);
			} else if (RxHeader.Identifier
					== 0x154&& hfdcan->Instance == FDCAN1) { // Fast message received
			// Fast message received on FDCAN1, copy to buffer for forwarding
				for (int i = 0; i < 8; i++) {
					fastMsgData[i] = RxData[i];
				}
				sendFastMsg = true;
			} else if (RxHeader.Identifier
					== 0x155&& hfdcan->Instance == FDCAN1) { // Slow message received
			// Slow message received on FDCAN1, copy to buffer for forwarding
				for (int i = 0; i < 8; i++) {
					slowMsgData[i] = RxData[i];
				}
				sendSlowMsg = true;
			}
		}
	}
}
/* USER CODE END 4 */

/* MPU Configuration */

void MPU_Config(void) {
	MPU_Region_InitTypeDef MPU_InitStruct = { 0 };

	/* Disables the MPU */
	HAL_MPU_Disable();

	/** Initializes and configures the Region and the memory to be protected
	 */
	MPU_InitStruct.Enable = MPU_REGION_ENABLE;
	MPU_InitStruct.Number = MPU_REGION_NUMBER0;
	MPU_InitStruct.BaseAddress = 0x0;
	MPU_InitStruct.Size = MPU_REGION_SIZE_4GB;
	MPU_InitStruct.SubRegionDisable = 0x87;
	MPU_InitStruct.TypeExtField = MPU_TEX_LEVEL0;
	MPU_InitStruct.AccessPermission = MPU_REGION_NO_ACCESS;
	MPU_InitStruct.DisableExec = MPU_INSTRUCTION_ACCESS_DISABLE;
	MPU_InitStruct.IsShareable = MPU_ACCESS_SHAREABLE;
	MPU_InitStruct.IsCacheable = MPU_ACCESS_NOT_CACHEABLE;
	MPU_InitStruct.IsBufferable = MPU_ACCESS_NOT_BUFFERABLE;

	HAL_MPU_ConfigRegion(&MPU_InitStruct);
	/* Enables the MPU */
	HAL_MPU_Enable(MPU_PRIVILEGED_DEFAULT);

}

/**
 * @brief BSP Push Button callback
 * @param Button Specifies the pressed button
 * @retval None
 */
void BSP_PB_Callback(Button_TypeDef Button) {
	if (Button == BUTTON_USER) {
		BspButtonState = BUTTON_PRESSED;
	}
}

void Error_Handler(void) {
	__disable_irq();
	while (1) {
	}
}
